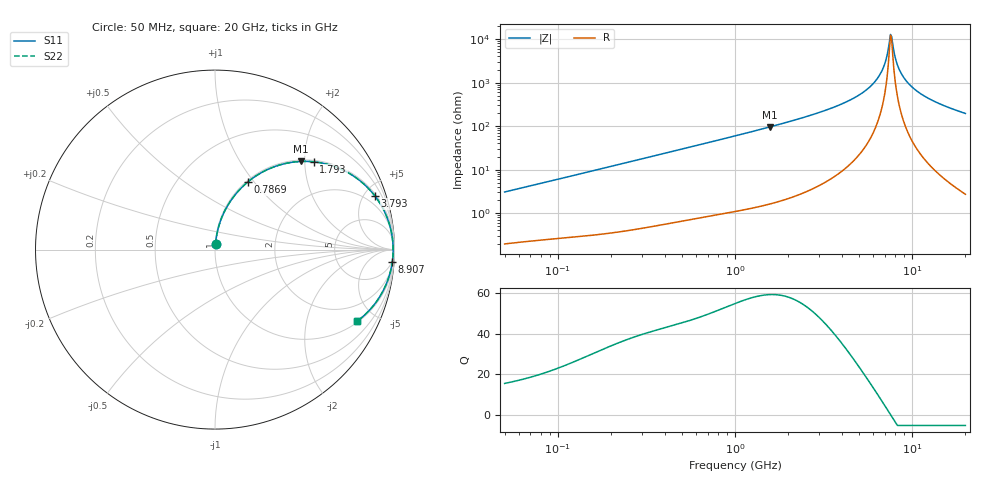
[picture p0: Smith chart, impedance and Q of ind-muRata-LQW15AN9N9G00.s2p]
!Murata Part Number: LQW15AN9N9G00
!These Parameters are Measured in Series Mode Connection
!  o--[Z]--o
!Port1  Port2
!  o-------o
!Freq. Start=50[MHz] Stop=20[GHz], 401[Steps]
# Hz S RI R 50
!Freq.(Hz) S11(Real) S11(Imag) S21(Real) S21(Imag) S12(Real) S12(Imag) S22(Real) S22(Imag)
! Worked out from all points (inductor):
!   401 points, 50 MHz to 20 GHz, reference 50 ohm
!   read as one part in series: L = 9.67 nH near 51.52 MHz
!   highest Q = 59.2 at 1.567 GHz (marker M1), where L = 9.71 nH
!   self-resonance near 7.554 GHz
!   S11 on the Smith chart (normalised r, x): 50 MHz: 1.00, +0.06; 786.9 MHz: 1.02, +0.93; 1.793 GHz: 1.04, +2.22; 3.793 GHz: 1.16, +5.89; 8.907 GHz: 4, -27; 20 GHz: 1.05, -3.92
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5e7  0.00289 0.0304  0.9971 -0.0304  0.9971 -0.0304  0.00289 0.0304
1.364002e8  0.00949 0.0806  0.9905 -0.0806  0.9905 -0.0806  0.00949 0.0806
3.721004e8  0.051 0.2085  0.949 -0.2085  0.949 -0.2085  0.051 0.2085
7.868965e8  0.1837 0.3776  0.8163 -0.3776  0.8163 -0.3776  0.1837 0.3776
1e9  0.2659 0.4328  0.7341 -0.4328  0.7341 -0.4328  0.2659 0.4328
1.567309e9  0.478 0.4911  0.522 -0.4911  0.522 -0.4911  0.478 0.4911
1.793498e9  0.5506 0.489  0.4494 -0.489  0.4494 -0.489  0.5506 0.489
2.728004e9  0.765 0.4143  0.235 -0.4143  0.235 -0.4143  0.765 0.4143
3.792786e9  0.8904 0.2995  0.1096 -0.2995  0.1096 -0.2995  0.8904 0.2995
5.041459e9  0.9579 0.1807  0.0421 -0.1807  0.0421 -0.1807  0.9579 0.1807
6.125241e9  0.9831 0.0953  0.0169 -0.0953  0.0169 -0.0953  0.9831 0.0953
6.601595e9  0.9885 0.0621  0.0115 -0.0621  0.0115 -0.0621  0.9885 0.0621
6.905011e9  0.9907 0.0422  0.00933 -0.0422  0.00933 -0.0422  0.9907 0.0422
7.114996e9  0.9917 0.0288  0.00834 -0.0288  0.00834 -0.0288  0.9917 0.0288
7.442007e9  0.9925 0.00883  0.00753 -0.00883  0.00753 -0.00883  0.9925 0.00883
7.668323e9  0.9926 -0.00452  0.00744 0.00452  0.00744 0.00452  0.9926 -0.00452
8.264682e9  0.9912 -0.0379  0.0088 0.0379  0.0088 0.0379  0.9912 -0.0379
8.907419e9  0.9876 -0.0712  0.0124 0.0712  0.0124 0.0712  0.9876 -0.0712
1.004137e10  0.977 -0.1243  0.023 0.1243  0.023 0.1243  0.977 -0.1243
1.183995e10  0.9524 -0.1964  0.0476 0.1964  0.0476 0.1964  0.9524 -0.1964
1.504638e10  0.8945 -0.2967  0.1055 0.2967  0.1055 0.2967  0.8945 -0.2967
2e10  0.7904 -0.4001  0.2096 0.4001  0.2096 0.4001  0.7904 -0.4001
